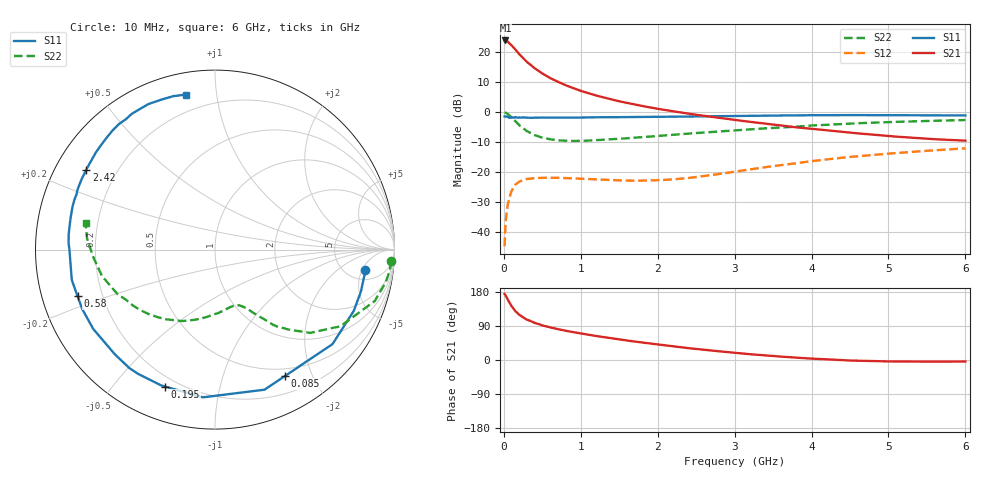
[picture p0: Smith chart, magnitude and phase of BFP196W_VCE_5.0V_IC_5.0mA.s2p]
! Infineon Technologies  Discrete & RF Semiconductors
! BFP196W
! VCE = 5.0 V,  IC = 5.0mA
! Common Emitter S-Parameters:  Jan 2016
# GHz  S  MA  R  50
!  f  S11  S21  S12  S22
! GHz  MAG  ANG  MAG  ANG  MAG  ANG  MAG  ANG
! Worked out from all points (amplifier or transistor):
!   210 points, 10 MHz to 6 GHz, reference 50 ohm
!   highest |S21| = 23.9 dB at 20 MHz (marker M1)
!   |S21| within 3 dB of that: start of sweep to 149.6 MHz
!   unconditionally stable (mu >= 1): 1.453 GHz to 3.315 GHz
!   at 185 MHz: K = 0.14, MSG = 21.7 dB, |S12| = -23.5 dB
!   at 1.52 GHz: K = 1.04, MAG = 11.9 dB, |S12| = -22.8 dB
!   at 6 GHz: K = 0.99, MSG = 1.3 dB, |S12| = -12.1 dB
!   S11 on the Smith chart (normalised r, x): 10 MHz: 7.22, -5.85; 85 MHz: 0.41, -1.62; 195 MHz: 0.15, -0.69; 580 MHz: 0.11, -0.16; 2.42 GHz: 0.09, +0.28; 6 GHz: 0.11, +0.82
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0.01  0.8463 -7.8  15.47 174.2  0.0058 83.1  0.9854 -3.7
0.02  0.8459 -15.9  15.67 171.6  0.0122 81.8  0.9793 -7.3
0.03  0.8452 -23.8  15.52 167.6  0.0177 78.5  0.9687 -10.8
0.05  0.8401 -38.8  15.06 159.3  0.0283 71.0  0.9353 -17.8
0.085  0.8049 -61.0  13.52 147.7  0.042 58.0  0.8489 -26.9
0.1  0.8279 -70.5  13.05 142.0  0.0482 54.7  0.8194 -31.4
0.15  0.8259 -94.7  11.08 128.8  0.062 43.5  0.7047 -41.2
0.195  0.8119 -110.0  9.451 120.4  0.0683 36.1  0.6159 -46.6
0.24  0.8143 -121.6  8.216 113.9  0.0728 30.9  0.5523 -51.0
0.3  0.8073 -133.7  6.868 106.4  0.0766 25.6  0.4816 -54.4
0.4  0.8097 -146.9  5.388 97.9  0.0791 20.4  0.4135 -58.7
0.5  0.8105 -155.9  4.408 91.3  0.0802 17.0  0.374 -61.5
0.58  0.8087 -161.3  3.844 87.2  0.0803 15.2  0.3563 -63.6
0.8  0.8093 -172.4  2.814 77.3  0.0793 13.0  0.3331 -69.4
1.02  0.8112 179.9  2.222 69.4  0.0771 12.7  0.332 -75.7
1.5  0.824 167.3  1.514 54.4  0.0725 17.7  0.3588 -90.0
2.02  0.836 155.9  1.125 40.5  0.0732 29.4  0.4017 -104.5
2.42  0.8443 148.1  0.934 30.8  0.0801 38.5  0.4406 -115.5
3.1  0.8641 135.9  0.714 17.2  0.106 47.7  0.5057 -133.6
4.1  0.8871 120.1  0.512 2.8  0.1573 47.5  0.6049 -157.8
5.1  0.8867 108.7  0.39 -3.9  0.2074 40.1  0.6871 -178.6
6  0.8788 100.6  0.334 -4.0  0.2488 32.8  0.7366 168.3
